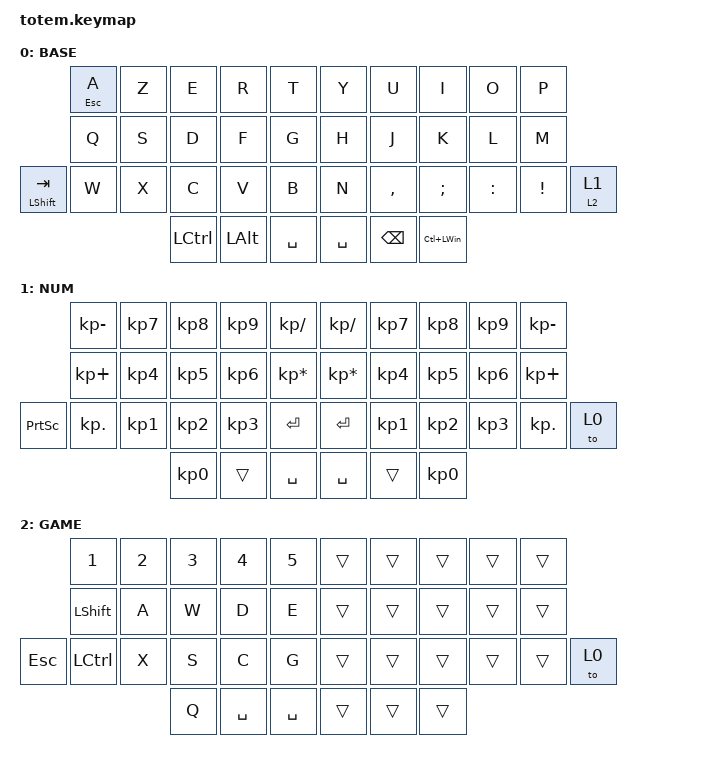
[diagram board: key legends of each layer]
//
//                                                        ▀▀▀▀▀     ▀▀▀▀▀          ▀▀█▀▀
//                                                        ▄▀▀▀▄  ▄  ▄▀▀▀▄  ▄  ▄▀▀▀▄  █  ▄▀▀▀▄
//                                                        █   █  █  █   █  █  █   █  █  █   █
//                                                         ▀▀▀   █   ▀▀▀   █   ▀▀▀   ▀   ▀▀▀
//                                                               █      ▄▄▄█▄▄▄    █   █  
//                                                               ▀      █  █  █     █▄█
//                                                             ▀▀▀▀▀    █  █  █      ▀
//                                                                      ▀  ▀  ▀
//
// ▄▄▄▄▄▄▄▄▄▄▄▄▄▄▄▄▄▄▄▄▄▄▄▄▄▄▄▄▄▄▄▄▄▄▄▄▄▄▄▄▄▄▄▄▄▄▄▄▄▄▄▄▄▄▄▄▄▄▄▄▄▄▄▄▄▄▄▄▄▄▄▄▄▄▄▄▄▄▄▄▄▄▄▄▄▄▄▄▄▄▄▄▄▄▄▄▄▄▄▄▄▄▄▄▄▄▄▄▄▄▄▄▄▄▄▄▄▄▄▄▄▄▄▄▄▄▄▄▄▄▄▄▄▄▄▄▄▄▄▄▄▄▄▄▄▄▄▄▄

#include <behaviors.dtsi>
#include <dt-bindings/zmk/keys.h>

#define BASE      0
#define NUM       1
#define MEDIA     2
#define FUNCTION  3
#define GAME      4

&mt {
    global-quick-tap;
    flavor = "tap-preferred";
};

/ {
    behaviors {
        hm: homerow_mods {
            compatible = "zmk,behavior-hold-tap";
            label = "HOMEROW_MODS";
            #binding-cells = <2>;
            tapping-term-ms = <200>;			// <---[[produces tap if held longer than tapping-term-ms]]
            quick_tap_ms = <0>;
            flavor = "tap-preferred";
            bindings = <&kp>, <&kp>;
        };

        lc: layer_change {
            compatible = "zmk,behavior-hold-tap";
            #binding-cells = <2>;
            flavor = "hold-preferred";
            tapping-term-ms = <200>;
            quick-tap-ms = <200>;
            require-prior-idle-ms = <125>;
            bindings = <&to>, <&kp>;
        };

        sc: sticky_layer_change {
            compatible = "zmk,behavior-hold-tap";
            #binding-cells = <2>;
            flavor = "hold-preferred";
            tapping-term-ms = <200>;
            quick-tap-ms = <200>;
            require-prior-idle-ms = <125>;
            bindings = <&sl>, <&kp>;
        };

        dl: dualayer_change {
            compatible = "zmk,behavior-hold-tap";
            #binding-cells = <2>;
            flavor = "hold-preferred";
            tapping-term-ms = <200>;
            quick-tap-ms = <200>;
            require-prior-idle-ms = <125>;
            bindings = <&to>, <&sl>;
        };

        ts: temp_sticky {
            compatible = "zmk,behavior-hold-tap";
            #binding-cells = <2>;
            flavor = "hold-preferred";
            tapping-term-ms = <200>;
            quick-tap-ms = <200>;
            require-prior-idle-ms = <125>;
            bindings = <&mo>, <&to>;
        };
    };

    combos {
        compatible = "zmk,combos";

        /* 			combo_copy {
                timeout-ms = <50>;
                key-positions = <5 31 24>;
                bindings = <&bootloader>;
            };
			combo_paste {
                timeout-ms = <50>;
                key-positions = <5 31 12>;
                bindings = <&bootloader>;
            }; */
    };

    keymap {
        compatible = "zmk,keymap";

        // ▄▄▄▄▄▄▄▄▄▄▄▄▄▄▄▄▄▄▄▄▄▄▄▄▄▄▄▄▄▄▄▄▄▄▄▄▄▄▄▄▄▄▄▄▄▄▄▄▄▄▄▄▄▄▄▄▄▄▄▄▄▄▄▄▄▄▄▄▄▄▄▄▄▄▄▄▄▄▄▄▄▄▄▄▄▄▄▄▄▄▄▄▄▄▄▄▄▄▄▄▄▄▄▄▄▄▄▄▄▄▄▄▄▄▄▄▄▄▄▄▄▄▄▄▄▄▄▄▄▄▄▄▄▄▄▄▄▄▄▄▄▄▄▄▄▄▄▄▄

        base_layer {
            // ┏━━━━━━━━━━━━━━━━━━━━━━━━━━━━━━━━━━━━━━━┓

            label = "BASE";

            // ┗━━━━━━━━━━━━━━━━━━━━━━━━━━━━━━━━━━━━━━━┛
            //             ┌─────────┬─────────┬─────────┬─────────┬─────────┐                     ┌─────────┬─────────┬─────────┬─────────┬─────────┐
            //             │    Q    │    W    │    F    │    P    │    B    │                     │    J    │    L    │    U    │    Y    │    ;    │   
            //             ├─────────┼─────────┼─────────┼─────────┼─────────┤                     ├─────────┼─────────┼─────────┼─────────┼─────────┤
            //             │    A    │    R    │    S    │    T    │    G    │                     │    M    │    N    │    E    │    I    │    O    │
            //   ┌─────────┼─────────┼─────────┼─────────┼─────────┼─────────┤                     ├─────────┼─────────┼─────────┼─────────┼─────────┼─────────┐
            //   │   TAB   │    Z    │    X    │    C    │    D    │    V    │                     │    K    │    H    │    ,    │    .    │    /    │    '    │
            //   └─────────┴─────────┴─────────┴─────────┼─────────┼─────────┼──────────┬┬─────────┼─────────┼─────────┼─────────┴─────────┴─────────┴─────────┘
            //                                           │   COPY  │  PASTE  │  SPACE   ││  ENTER  │  BSPCE  │  DITTO  │  
            //                                           └─────────┴─────────┴──────────┘└─────────┴─────────┴─────────┘

            bindings = <
                    &mt ESCAPE A  &kp Z  &kp E      &kp R         &kp T        &kp Y      &kp U      &kp I             &kp O      &kp P
                    &kp Q         &kp S  &kp D      &kp F         &kp G        &kp H      &kp J      &kp K             &kp L      &kp M
&mt LEFT_SHIFT TAB  &kp W         &kp X  &kp C      &kp V         &kp B        &kp N      &kp COMMA  &kp SEMICOLON     &kp COLON  &kp EXCLAMATION  &dl 2 1
                                         &kp LCTRL  &kp LEFT_ALT  &kp SPACE    &kp SPACE  &kp BSPC   &kp LC(LEFT_WIN)
            >;
        };

        // ▄▄▄▄▄▄▄▄▄▄▄▄▄▄▄▄▄▄▄▄▄▄▄▄▄▄▄▄▄▄▄▄▄▄▄▄▄▄▄▄▄▄▄▄▄▄▄▄▄▄▄▄▄▄▄▄▄▄▄▄▄▄▄▄▄▄▄▄▄▄▄▄▄▄▄▄▄▄▄▄▄▄▄▄▄▄▄▄▄▄▄▄▄▄▄▄▄▄▄▄▄▄▄▄▄▄▄▄▄▄▄▄▄▄▄▄▄▄▄▄▄▄▄▄▄▄▄▄▄▄▄▄▄▄▄▄▄▄▄▄▄▄▄▄▄▄▄▄▄

        num_layer {
            // ┏━━━━━━━━━━━━━━━━━━━━━━━━━━━━━━━━━━━━━━━┓

            label = "NUM";

            // ┗━━━━━━━━━━━━━━━━━━━━━━━━━━━━━━━━━━━━━━━┛
            //             ┌─────────┬─────────┬─────────┬─────────┬─────────┐                     ┌─────────┬─────────┬─────────┬─────────┬─────────┐
            //             │    -    │    7    │    8    │    9    │    /    │                     │    /    │    7    │    8    │    9    │    -    │
            //             ├─────────┼─────────┼─────────┼─────────┼─────────┤                     ├─────────┼─────────┼─────────┼─────────┼─────────┤
            //             │    +    │    4    │    5    │    6    │    *    │                     │    *    │    4    │    5    │    6    │    +    │
            //   ┌─────────┼─────────┼─────────┼─────────┼─────────┼─────────┤                     ├─────────┼─────────┼─────────┼─────────┼─────────┼─────────┐
            //   │  PRINT  │    .    │    1    │    2    │    3    │ ------- │                     │ ------- │    1    │    2    │    3    │    .    │         │
            //   └─────────┴─────────┴─────────┴─────────┼─────────┼─────────┼──────────┬┬─────────┼─────────┼─────────┼─────────┴─────────┴─────────┴─────────┘
            //                                           │    0    │  ENTER  │  SPACE   ││  SPACE  │  ENTER  │    0    │ 
            //                                           └─────────┴─────────┴──────────┘└─────────┴─────────┴─────────┘

            bindings = <
           &kp KP_MINUS  &kp KP_N7  &kp KP_N8  &kp KP_N9  &kp KP_DIVIDE      &kp KP_DIVIDE    &kp KP_N7  &kp KP_N8  &kp KP_N9  &kp KP_MINUS
           &kp KP_PLUS   &kp KP_N4  &kp KP_N5  &kp KP_N6  &kp KP_MULTIPLY    &kp KP_MULTIPLY  &kp KP_N4  &kp KP_N5  &kp KP_N6  &kp KP_PLUS
&kp PSCRN  &kp KP_DOT    &kp KP_N1  &kp KP_N2  &kp KP_N3  &kp RET            &kp RET          &kp KP_N1  &kp KP_N2  &kp KP_N3  &kp KP_DOT    &to 0
                                    &kp KP_N0  &trans     &kp SPACE          &kp SPACE        &trans     &kp KP_N0
            >;
        };

        // ▄▄▄▄▄▄▄▄▄▄▄▄▄▄▄▄▄▄▄▄▄▄▄▄▄▄▄▄▄▄▄▄▄▄▄▄▄▄▄▄▄▄▄▄▄▄▄▄▄▄▄▄▄▄▄▄▄▄▄▄▄▄▄▄▄▄▄▄▄▄▄▄▄▄▄▄▄▄▄▄▄▄▄▄▄▄▄▄▄▄▄▄▄▄▄▄▄▄▄▄▄▄▄▄▄▄▄▄▄▄▄▄▄▄▄▄▄▄▄▄▄▄▄▄▄▄▄▄▄▄▄▄▄▄▄▄▄▄▄▄▄▄▄▄▄▄▄▄▄
        // ▄▄▄▄▄▄▄▄▄▄▄▄▄▄▄▄▄▄▄▄▄▄▄▄▄▄▄▄▄▄▄▄▄▄▄▄▄▄▄▄▄▄▄▄▄▄▄▄▄▄▄▄▄▄▄▄▄▄▄▄▄▄▄▄▄▄▄▄▄▄▄▄▄▄▄▄▄▄▄▄▄▄▄▄▄▄▄▄▄▄▄▄▄▄▄▄▄▄▄▄▄▄▄▄▄▄▄▄▄▄▄▄▄▄▄▄▄▄▄▄▄▄▄▄▄▄▄▄▄▄▄▄▄▄▄▄▄▄▄▄▄▄▄▄▄▄▄▄▄
        // ▄▄▄▄▄▄▄▄▄▄▄▄▄▄▄▄▄▄▄▄▄▄▄▄▄▄▄▄▄▄▄▄▄▄▄▄▄▄▄▄▄▄▄▄▄▄▄▄▄▄▄▄▄▄▄▄▄▄▄▄▄▄▄▄▄▄▄▄▄▄▄▄▄▄▄▄▄▄▄▄▄▄▄▄▄▄▄▄▄▄▄▄▄▄▄▄▄▄▄▄▄▄▄▄▄▄▄▄▄▄▄▄▄▄▄▄▄▄▄▄▄▄▄▄▄▄▄▄▄▄▄▄▄▄▄▄▄▄▄▄▄▄▄▄▄▄▄▄▄		

        game_layer {
            // ┏━━━━━━━━━━━━━━━━━━━━━━━━━━━━━━━━━━━━━━━┓

            label = "GAME";

            // ┗━━━━━━━━━━━━━━━━━━━━━━━━━━━━━━━━━━━━━━━┛
            //             ┌─────────┬─────────┬─────────┬─────────┬─────────┐                    ┌─────────┬─────────┬─────────┬─────────┬─────────┐
            //             │    1    │    2    │    3    │    4    │    5    │                    │         │         │         │         │         │   
            //             ├─────────┼─────────┼─────────┼─────────┼─────────┤                    ├─────────┼─────────┼─────────┼─────────┼─────────┤
            //             │  SHIFT  │    A    │    W    │    D    │    F    │                    │         │         │         │         │         │
            //   ┌─────────┼─────────┼─────────┼─────────┼─────────┼─────────┤                    ├─────────┼─────────┼─────────┼─────────┼─────────┼─────────┐
            //   │ ------- │  CRTL   │ ------- │    S    │    C    │ ------- │                    │         │         │         │         │         │         │
            //   └─────────┴─────────┴─────────┴─────────┼─────────┼─────────┼─────────┬┬─────────┼─────────┼─────────┼─────────┴─────────┴─────────┴─────────┘
            //                                           │   ALT   │  SPACE  │  SPACE  ││         │         │         │  
            //                                           └─────────┴─────────┴─────────┘└─────────┴─────────┴─────────┘

            bindings = <
            &kp N1     &kp N2  &kp N3  &kp N4     &kp N5       &trans  &trans  &trans  &trans  &trans
            &kp LSHFT  &kp A   &kp W   &kp D      &kp E        &trans  &trans  &trans  &trans  &trans
&kp ESCAPE  &kp LCTRL  &kp X   &kp S   &kp C      &kp G        &trans  &trans  &trans  &trans  &trans  &to 0
                               &kp Q   &kp SPACE  &kp SPACE    &trans  &trans  &trans
            >;
        };

        // ▄▄▄▄▄▄▄▄▄▄▄▄▄▄▄▄▄▄▄▄▄▄▄▄▄▄▄▄▄▄▄▄▄▄▄▄▄▄▄▄▄▄▄▄▄▄▄▄▄▄▄▄▄▄▄▄▄▄▄▄▄▄▄▄▄▄▄▄▄▄▄▄▄▄▄▄▄▄▄▄▄▄▄▄▄▄▄▄▄▄▄▄▄▄▄▄▄▄▄▄▄▄▄▄▄▄▄▄▄▄▄▄▄▄▄▄▄▄▄▄▄▄▄▄▄▄▄▄▄▄▄▄▄▄▄▄▄▄▄▄▄▄▄▄▄▄▄▄▄		
    };
};
